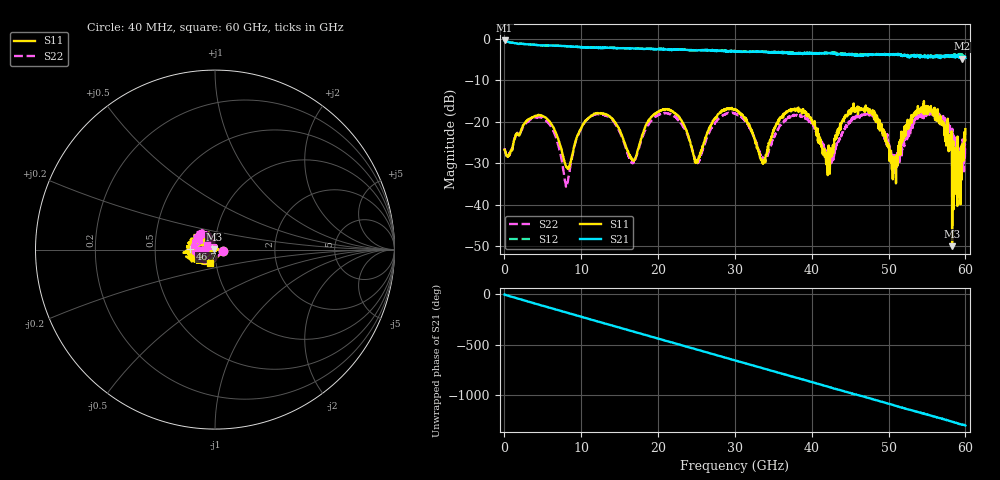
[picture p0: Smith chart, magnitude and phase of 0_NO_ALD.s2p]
! File created by 'SoftPlot +Plus+ Measurement Management Software'
! SoftPlot +Plus+ Measurement Management Software
! Start 40.000000 MHz  Stop 60.000000 GHz  Points 1601
# MHZ S RI R 50
! S-Parameter data, F S11 S21 S12 S22
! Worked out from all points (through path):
!   1601 points, 40 MHz to 60 GHz, reference 50 ohm
!   highest |S21| = -0.44 dB at 40 MHz (marker M1); lowest = -4.8 dB at 59.55 GHz (marker M2)
!   group delay of S21, straight-line fit = 60 ps
!   lowest |S11| = -50.0 dB at 58.28 GHz (marker M3), VSWR 1.01, Z = 49.7 + j0.13 ohm
!   |S11| at or under -10 dB: start of sweep to end of sweep
!   |S22| runs from -35.7 to -17.2 dB; largest |S21 - S12| = 0.079
!   S11 on the Smith chart (normalised r, x): 40 MHz: 1.09, -0.02; 46.7 GHz: 0.76, +0.01; 60 GHz: 0.93, -0.14
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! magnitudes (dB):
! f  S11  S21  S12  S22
! 40 MHz  -26.8  -0.4  -0.4  -26.4
! 4.949 GHz  -18.6  -1.6  -1.6  -19.1
! 8.097 GHz  -30.9  -1.8  -1.8  -35.3
! 10.05 GHz  -21.4  -2.1  -2.0  -21.5
! 13.72 GHz  -18.7  -2.2  -2.2  -18.9
! 16.79 GHz  -29.4  -2.4  -2.3  -30.0
! 20.05 GHz  -17.6  -2.5  -2.5  -18.4
! 22.79 GHz  -18.9  -2.6  -2.6  -19.8
! 25.04 GHz  -29.4  -2.8  -2.8  -29.9
! 30.02 GHz  -17.0  -3.1  -2.9  -18.0
! 33.66 GHz  -30.2  -3.2  -3.1  -28.6
! 36.62 GHz  -17.8  -3.4  -3.1  -19.4
! 40.03 GHz  -19.6  -3.4  -3.5  -20.7
! 42.09 GHz  -32.9  -3.5  -3.4  -29.2
! 44.22 GHz  -19.2  -3.8  -3.6  -22.2
! 46.7 GHz  -17.2  -4.0  -3.9  -18.3
! 50.03 GHz  -26.0  -3.9  -3.8  -25.5
! 51.12 GHz  -30.7  -3.9  -3.8  -27.6
! 55.35 GHz  -17.1  -4.4  -4.5  -18.3
! 58.28 GHz  -50.0  -4.4  -4.1  -24.6
! 59.55 GHz  -25.6  -4.8  -3.7  -28.7
! 60 GHz  -21.8  -4.6  -4.2  -25.5
